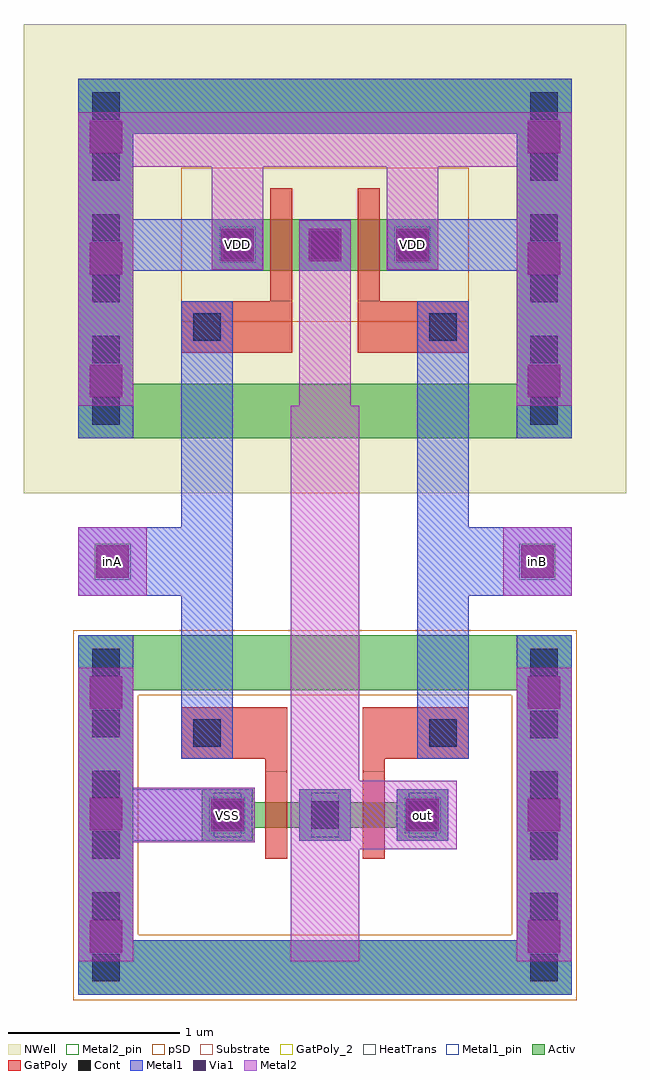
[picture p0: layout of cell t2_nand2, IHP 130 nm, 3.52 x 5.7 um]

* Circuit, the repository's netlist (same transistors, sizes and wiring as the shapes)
** sch_path: /foss/designs/PROJECTS/cmos-pll-ihp-sg13g2/Team 2 Design/design_data/xschem/t2_nand2.sch
.subckt t2_nand2 VDD inA inB out VSS
*.PININFO VSS:B inA:I inB:I out:O VDD:B
M1 out inA VDD VDD sg13_lv_pmos w=0.3u l=0.13u ng=1 m=1
M2 out inB VDD VDD sg13_lv_pmos w=0.3u l=0.13u ng=1 m=1
M3 out inB net1 VSS sg13_lv_nmos w=0.15u l=0.13u ng=1 m=1
M4 net1 inA VSS VSS sg13_lv_nmos w=0.15u l=0.13u ng=1 m=1
.ends

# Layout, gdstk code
import gdstk
lib = gdstk.Library(unit=1e-6, precision=1e-09)
def R(c, l, rs):  # rectangles x0, y0, x1, y1
    for r in rs: c.add(gdstk.rectangle(r[:2], r[2:], *l))
def A(c, l, x, y, w, h, nx, ny, dx, dy):  # array of equal rectangles
    R(c, l, [(x+i*dx, y+j*dy, x+i*dx+w, y+j*dy+h) for i in range(nx) for j in range(ny)])
Activ = (1, 0)
GatPoly = (5, 0)
GatPoly_2 = (5, 2)
Cont = (6, 0)
Metal1 = (8, 0)
Metal1_pin = (8, 2)
Metal2 = (10, 0)
Metal2_pin = (10, 2)
pSD = (14, 0)
Via1 = (19, 0)
NWell = (31, 0)
Substrate = (40, 0)
HeatTrans = (51, 0)

pmos = lib.new_cell('pmos')
R(pmos, Activ, [(0,0,0.3,0.3), (0,0,0.81,0.3), (0.51,0,0.81,0.3)])
R(pmos, GatPoly, [(0.34,-0.18,0.47,0.48), (0.34,-0.18,0.47,0.48)])
R(pmos, Cont, [(0.07,0.07,0.23,0.23), (0.58,0.07,0.74,0.23)])
R(pmos, Metal1, [(0.07,0,0.23,0.3), (0.07,0,0.23,0.3), (0.58,0,0.74,0.3), (0.58,0,0.74,0.3)])
R(pmos, pSD, [(-0.18,-0.3,0.99,0.6)])
R(pmos, NWell, [(-0.31,-0.31,1.12,0.61)])
R(pmos, Substrate, [(0.51,0,0.81,0.3)])
R(pmos, HeatTrans, [(0.34,-0.18,0.47,0.48)])
pmos.add(gdstk.Label('pmos', (0.405,0.15), layer=63, texttype=0))
pmos.add(gdstk.Label('pmos', (0.405,0.15), layer=51, texttype=0))

nmos = lib.new_cell('nmos')
R(nmos, Activ, [(0,0,0.3,0.3), (0.57,0,0.87,0.3), (0,0.075,0.87,0.225)])
R(nmos, GatPoly, [(0.37,-0.105,0.5,0.405)])
R(nmos, GatPoly_2, [(0.37,-0.105,0.5,0.405)])
R(nmos, Cont, [(0.07,0.07,0.23,0.23), (0.64,0.07,0.8,0.23)])
R(nmos, Metal1, [(0.07,0.02,0.23,0.28), (0.64,0.02,0.8,0.28)])
R(nmos, Metal1_pin, [(0.07,0.02,0.23,0.28), (0.64,0.02,0.8,0.28)])
R(nmos, HeatTrans, [(0.37,-0.105,0.5,0.405)])
nmos.add(gdstk.Label('nmos', (0.435,0.15), layer=63, texttype=0))
nmos.add(gdstk.Label('nmos', (0.435,0.15), layer=51, texttype=0))

t2_nand2 = lib.new_cell('t2_nand2')
R(t2_nand2, Activ, [(-6.22,-2.335,-3.66,-2.015), (-3.66,-2.335,-3.34,-0.555), (-6.22,-2.015,-5.9,-0.235), (-5.9,-0.555,-3.34,-0.235), (-6.22,0.915,-3.66,1.235), (-3.66,0.915,-3.34,2.695), (-6.22,1.235,-5.9,3.015), (-5.9,2.695,-3.34,3.015)])
R(t2_nand2, GatPoly, [(-5.13,-1.03,-5,-0.955), (-4.56,-1.03,-4.43,-0.955), (-5.62,-0.955,-5,-0.655), (-4.56,-0.955,-3.94,-0.655), (-5.62,1.415,-4.97,1.715), (-4.59,1.415,-3.94,1.715)])
A(t2_nand2, Cont, -3.58, -2.255, 0.16, 0.16, 1, 5, 0, 0.355)
A(t2_nand2, Cont, -6.14, -1.895, 0.16, 0.16, 1, 5, 0, 0.355)
A(t2_nand2, Cont, -6.14, 1.355, 0.16, 0.16, 1, 5, 0, 0.355)
A(t2_nand2, Cont, -3.58, 1.355, 0.16, 0.16, 1, 5, 0, 0.355)
R(t2_nand2, Cont, [(-6.14,-2.255,-5.98,-2.095), (-5.55,-0.885,-5.39,-0.725), (-4.17,-0.885,-4.01,-0.725), (-3.58,-0.475,-3.42,-0.315), (-6.14,0.995,-5.98,1.155), (-3.58,0.995,-3.42,1.155), (-5.55,1.485,-5.39,1.645), (-4.17,1.485,-4.01,1.645)])
R(t2_nand2, Metal1, [(-6.22,-2.335,-5.9,-0.235), (-5.9,-2.335,-3.66,-2.015), (-3.66,-2.335,-3.34,-0.235), (-5.9,-1.435,-5.205,-1.135), (-4.93,-1.435,-4.63,-1.135), (-4.36,-1.435,-4.06,-1.135), (-5.62,-0.955,-5.32,1.715), (-4.24,-0.955,-3.94,1.715), (-6.22,-0.005,-5.62,0.395), (-3.94,-0.005,-3.34,0.395), (-6.22,0.915,-5.9,3.015), (-3.66,0.915,-3.34,3.015), (-5.9,1.895,-5.145,2.195), (-4.93,1.895,-4.63,2.195), (-4.415,1.895,-3.66,2.195), (-5.9,2.695,-3.66,3.015)])
R(t2_nand2, Metal2, [(-6.22,-2.14,-5.9,-0.425), (-4.98,-2.14,-4.58,1.105), (-3.66,-2.14,-3.34,-0.425), (-4.58,-1.485,-4.01,-1.085), (-5.9,-1.445,-5.19,-1.125), (-6.22,-0.005,-5.82,0.395), (-3.74,-0.005,-3.34,0.395), (-6.22,1.105,-5.9,2.82), (-4.93,1.105,-4.63,2.19), (-3.66,1.105,-3.34,2.82), (-5.44,1.9,-5.14,2.5), (-4.42,1.9,-4.12,2.5), (-5.9,2.5,-3.66,2.82)])
R(t2_nand2, Metal2_pin, [(-5.455,-1.39,-5.245,-1.18), (-4.315,-1.39,-4.105,-1.18), (-6.125,0.09,-5.915,0.3), (-3.645,0.09,-3.435,0.3), (-5.395,1.94,-5.185,2.15), (-4.375,1.94,-4.165,2.15)])
R(t2_nand2, pSD, [(-6.25,-2.365,-3.69,-1.985), (-3.69,-2.365,-3.31,-0.585), (-6.25,-1.985,-5.87,-0.205), (-5.87,-0.585,-3.31,-0.205)])
A(t2_nand2, Via1, -5.385, 1.95, 0.19, 0.19, 3, 1, 0.51, 0)
R(t2_nand2, Via1, [(-6.155,-2.09,-5.965,-1.9), (-3.595,-2.09,-3.405,-1.9), (-5.445,-1.38,-5.255,-1.19), (-4.305,-1.38,-4.115,-1.19), (-3.595,-1.38,-3.405,-1.19), (-6.155,-1.375,-5.965,-1.185), (-6.155,-0.665,-5.965,-0.475), (-3.595,-0.665,-3.405,-0.475), (-6.115,0.1,-5.925,0.29), (-3.635,0.1,-3.445,0.29), (-6.155,1.155,-5.965,1.345), (-3.595,1.155,-3.405,1.345), (-6.155,1.87,-5.965,2.06), (-3.595,1.87,-3.405,2.06), (-6.155,2.58,-5.965,2.77), (-3.595,2.58,-3.405,2.77)])
R(t2_nand2, NWell, [(-6.54,0.595,-3.02,3.335)])
t2_nand2.add(gdstk.Reference(pmos, (-5.44,1.895)))
t2_nand2.add(gdstk.Reference(pmos, (-4.93,1.895)))
t2_nand2.add(gdstk.Reference(nmos, (-5.5,-1.435)))
t2_nand2.add(gdstk.Reference(nmos, (-4.93,-1.435)))
t2_nand2.add(gdstk.Label('VDD', (-5.29,2.045), layer=10, texttype=2))
t2_nand2.add(gdstk.Label('VDD', (-4.27,2.045), layer=10, texttype=2))
t2_nand2.add(gdstk.Label('VSS', (-5.35,-1.285), layer=10, texttype=2))
t2_nand2.add(gdstk.Label('out', (-4.21,-1.285), layer=10, texttype=2))
t2_nand2.add(gdstk.Label('inA', (-6.02,0.195), layer=10, texttype=2))
t2_nand2.add(gdstk.Label('inB', (-3.54,0.195), layer=10, texttype=2))

lib.write_gds('t2_nand2.gds')
